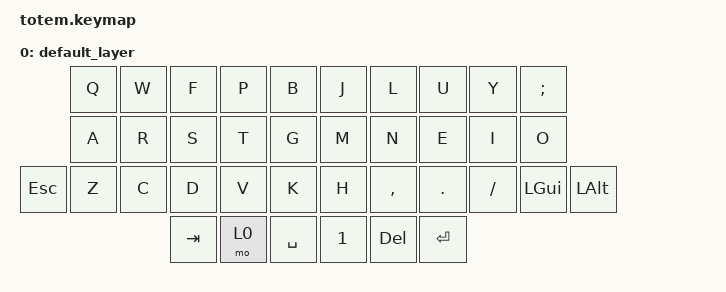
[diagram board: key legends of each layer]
//
//                                                        ▀▀▀▀▀     ▀▀▀▀▀          ▀▀█▀▀
//                                                        ▄▀▀▀▄  ▄  ▄▀▀▀▄  ▄  ▄▀▀▀▄  █  ▄▀▀▀▄
//                                                        █   █  █  █   █  █  █   █  █  █   █
//                                                         ▀▀▀   █   ▀▀▀   █   ▀▀▀   ▀   ▀▀▀
//                                                               █      ▄▄▄█▄▄▄    █   █  
//                                                               ▀      █  █  █     █▄█
//                                                             ▀▀▀▀▀    █  █  █      ▀
//                                                                      ▀  ▀  ▀
//
// ▄▄▄▄▄▄▄▄▄▄▄▄▄▄▄▄▄▄▄▄▄▄▄▄▄▄▄▄▄▄▄▄▄▄▄▄▄▄▄▄▄▄▄▄▄▄▄▄▄▄▄▄▄▄▄▄▄▄▄▄▄▄▄▄▄▄▄▄▄▄▄▄▄▄▄▄▄▄▄▄▄▄▄▄▄▄▄▄▄▄▄▄▄▄▄▄▄▄▄▄▄▄▄▄▄▄▄▄▄▄▄▄▄▄▄▄▄▄▄▄▄▄▄▄▄▄▄▄▄▄▄▄▄▄▄▄▄▄▄▄▄▄▄▄▄▄▄▄▄

#include <behaviors.dtsi>
#include <dt-bindings/zmk/keys.h>

/ {
    keymap {
        compatible = "zmk,keymap";

        // Base Layer (QWERTY + Mac Mods)  

        default_layer {
            bindings = <
            &kp Q  &kp W  &kp F    &kp P  &kp B        &kp J         &kp L      &kp U    &kp Y      &kp SEMI
            &kp A  &kp R  &kp S    &kp T  &kp G        &kp M         &kp N      &kp E    &kp I      &kp O
&kp ESCAPE  &kp Z  &kp C  &kp D    &kp V  &kp K        &kp H         &kp COMMA  &kp DOT  &kp SLASH  &kp LGUI  &kp LALT
                          &kp TAB  &mo 0  &kp SPACE    &kp NUMBER_1  &kp DEL    &kp RET
            >;
        };

        // Layer 1: Numbers + Symbols  
        // Layer 2: Navigation + Function Keys  
    };
};
